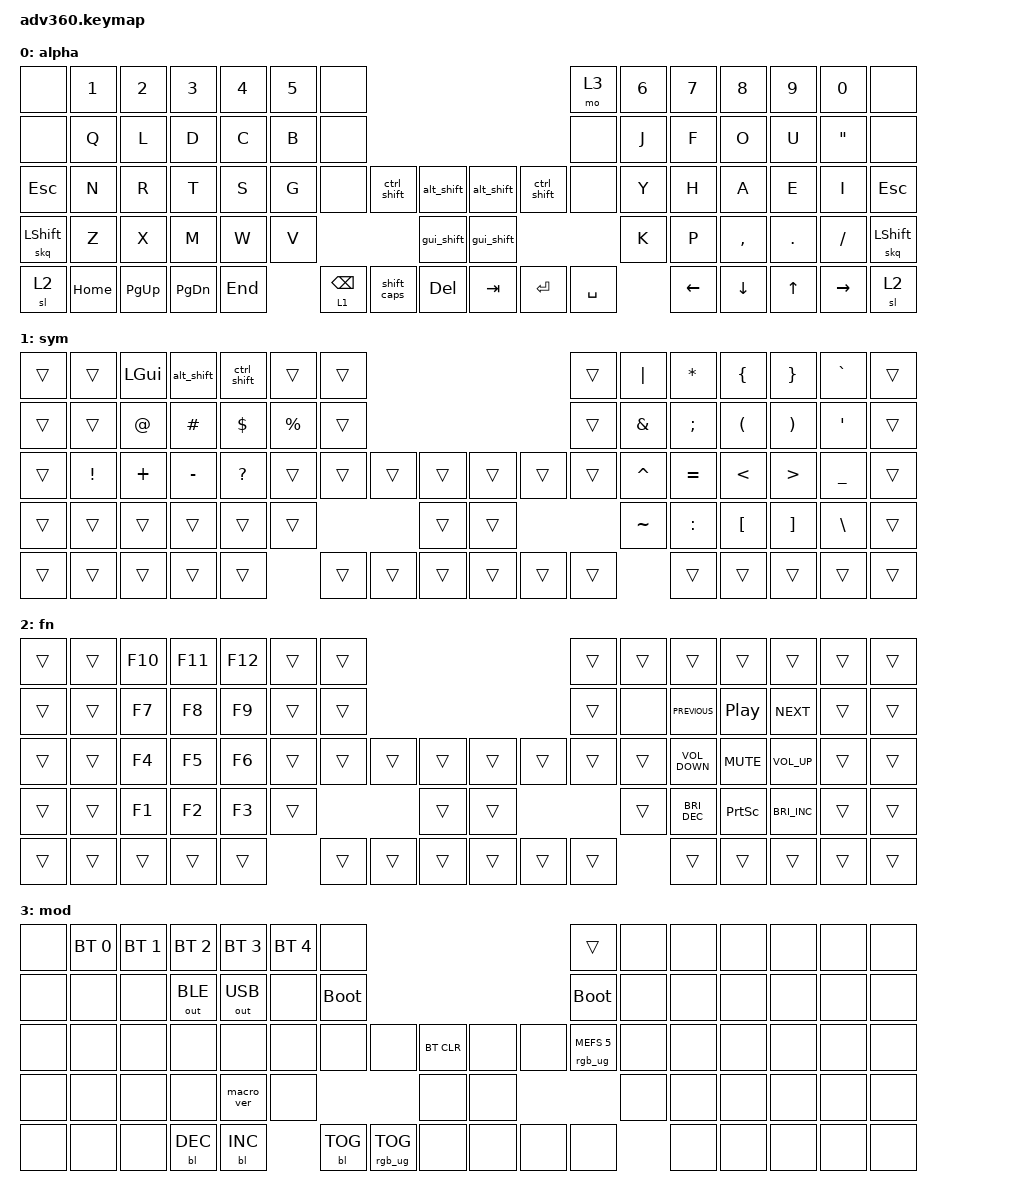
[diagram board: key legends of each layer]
#include <behaviors.dtsi>
#include <dt-bindings/zmk/backlight.h>
#include <dt-bindings/zmk/bt.h>
#include <dt-bindings/zmk/keys.h>
#include <dt-bindings/zmk/outputs.h>
#include <dt-bindings/zmk/rgb.h>

/ {
    behaviors {
        #include "macros.dtsi"
      #include "version.dtsi"
      #ifndef VERSION_MACRO

        macro_ver: macro_ver {
            compatible = "zmk,behavior-macro";
            label = "macro_version";
            #binding-cells = <0>;
            bindings = <&kp RET>;
        };

        #endif

        skq: skq {
            compatible = "zmk,behavior-sticky-key";
            label = "SKQ";
            bindings = <&kp>;
            #binding-cells = <1>;
            quick-release;
            release-after-ms = <1000>;
            ignore-modifiers;
        };

        layer: layer {
            compatible = "zmk,behavior-hold-tap";
            label = "LAYER";
            bindings = <&mo>, <&kp>;

            #binding-cells = <2>;
            tapping-term-ms = <200>;
            quick-tap-ms = <75>;
            flavor = "hold-preferred";
        };

        ctrl_shift: ctrl_shift {
            compatible = "zmk,behavior-tap-dance";
            label = "CTRL_SHIFT";
            #binding-cells = <0>;
            bindings = <&sk LCTRL>, <&sk LS(LCTRL)>;
        };

        alt_shift: alt_shift {
            compatible = "zmk,behavior-tap-dance";
            label = "ALT_SHIFT";
            #binding-cells = <0>;
            bindings = <&sk LALT>, <&sk LS(LALT)>;
        };

        gui_shift: gui_shift {
            compatible = "zmk,behavior-tap-dance";
            label = "GUI_SHIFT";
            #binding-cells = <0>;
            bindings = <&sk LGUI>, <&sk LS(LGUI)>;
        };

        shift_caps: shift_caps {
            compatible = "zmk,behavior-tap-dance";
            label = "SHIFT_CAPS";
            #binding-cells = <0>;
            bindings = <&skq LSHIFT>, <&caps_word>;
        };
    };

    macros {
    };

    combos { compatible = "zmk,combos"; };

    keymap {
        compatible = "zmk,keymap";

        alpha {
            bindings = <
&none            &kp N1    &kp N2       &kp N3         &kp N4   &kp N5  &none                                                                     &mo 3      &kp N6  &kp N7    &kp N8     &kp N9   &kp N0     &none
&none            &kp Q     &kp L        &kp D          &kp C    &kp B   &none                                                                     &none      &kp J   &kp F     &kp O      &kp U    &kp DQT    &none
&kp ESC          &kp N     &kp R        &kp T          &kp S    &kp G   &none               &ctrl_shift  &alt_shift      &alt_shift  &ctrl_shift  &none      &kp Y   &kp H     &kp A      &kp E    &kp I      &kp ESC
&skq LEFT_SHIFT  &kp Z     &kp X        &kp M          &kp W    &kp V                                    &gui_shift      &gui_shift                          &kp K   &kp P     &kp COMMA  &kp DOT  &kp FSLH   &skq LEFT_SHIFT
&sl 2            &kp HOME  &kp PAGE_UP  &kp PAGE_DOWN  &kp END          &layer 1 BACKSPACE  &shift_caps  &kp DELETE      &kp TAB     &kp ENTER    &kp SPACE          &kp LEFT  &kp DOWN   &kp UP   &kp RIGHT  &sl 2
            >;
        };

        sym {
            bindings = <
&trans  &trans           &kp LGUI  &alt_shift  &ctrl_shift  &trans     &trans                                      &trans  &kp PIPE   &kp STAR   &kp LBRC  &kp RBRC  &kp GRAVE      &trans
&trans  &trans           &kp AT    &kp HASH    &kp DLLR     &kp PRCNT  &trans                                      &trans  &kp AMPS   &kp SEMI   &kp LPAR  &kp RPAR  &kp SQT        &trans
&trans  &kp EXCLAMATION  &kp PLUS  &kp MINUS   &kp QMARK    &trans     &trans  &trans  &trans      &trans  &trans  &trans  &kp CARET  &kp EQUAL  &kp LT    &kp GT    &kp UNDER      &trans
&trans  &trans           &trans    &trans      &trans       &trans                     &trans      &trans                  &kp TILDE  &kp COLON  &kp LBKT  &kp RBKT  &kp BACKSLASH  &trans
&trans  &trans           &trans    &trans      &trans                  &trans  &trans  &trans      &trans  &trans  &trans             &trans     &trans    &trans    &trans         &trans
            >;
        };

        fn {
            bindings = <
&trans  &trans  &kp F10  &kp F11  &kp F12  &trans  &trans                                      &trans  &trans  &trans                &trans            &trans                &trans  &trans
&trans  &trans  &kp F7   &kp F8   &kp F9   &trans  &trans                                      &trans  &none   &kp C_PREVIOUS        &kp C_PLAY_PAUSE  &kp C_NEXT            &trans  &trans
&trans  &trans  &kp F4   &kp F5   &kp F6   &trans  &trans  &trans  &trans      &trans  &trans  &trans  &trans  &kp C_VOLUME_DOWN     &kp C_MUTE        &kp C_VOLUME_UP       &trans  &trans
&trans  &trans  &kp F1   &kp F2   &kp F3   &trans                  &trans      &trans                  &trans  &kp C_BRIGHTNESS_DEC  &kp PRINTSCREEN   &kp C_BRIGHTNESS_INC  &trans  &trans
&trans  &trans  &trans   &trans   &trans           &trans  &trans  &trans      &trans  &trans  &trans          &trans                &trans            &trans                &trans  &trans
            >;
        };

        mod {
            bindings = <
&none  &bt BT_SEL 0  &bt BT_SEL 1  &bt BT_SEL 2  &bt BT_SEL 3  &bt BT_SEL 4  &none                                                       &trans                  &none  &none  &none  &none  &none  &none
&none  &none         &none         &out OUT_BLE  &out OUT_USB  &none         &bootloader                                                 &bootloader             &none  &none  &none  &none  &none  &none
&none  &none         &none         &none         &none         &none         &none        &none            &bt BT_CLR      &none  &none  &rgb_ug RGB_MEFS_CMD 5  &none  &none  &none  &none  &none  &none
&none  &none         &none         &none         &macro_ver    &none                                       &none           &none                                 &none  &none  &none  &none  &none  &none
&none  &none         &none         &bl BL_DEC    &bl BL_INC                  &bl BL_TOG   &rgb_ug RGB_TOG  &none           &none  &none  &none                          &none  &none  &none  &none  &none
            >;
        };
    };
};
